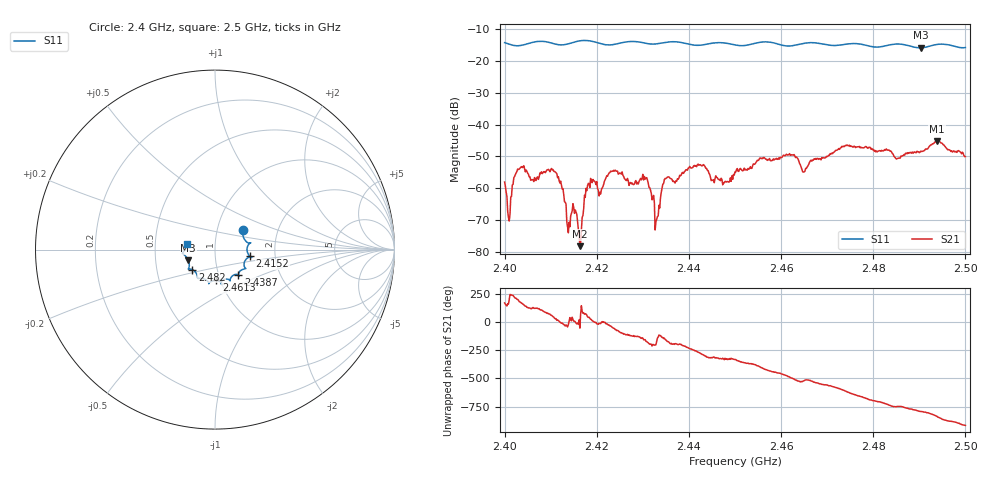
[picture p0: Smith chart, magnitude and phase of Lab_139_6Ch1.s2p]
# Hz S RI R 50
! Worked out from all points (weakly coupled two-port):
!   601 points, 2.4 GHz to 2.5 GHz, reference 50 ohm
!   highest |S21| = -45.16 dB at 2.4938 GHz (marker M1); lowest = -78.2 dB at 2.4163 GHz (marker M2)
!   lowest |S11| = -15.9 dB at 2.4903 GHz (marker M3), VSWR 1.38, Z = 36.8 - j4.43 ohm
!   |S11| at or under -10 dB: start of sweep to end of sweep
!   S12 and S22 are empty: the file has one direction only
!   S11 on the Smith chart (normalised r, x): 2.4 GHz: 1.33, +0.31; 2.4152 GHz: 1.48, -0.12; 2.4387 GHz: 1.24, -0.36; 2.4613 GHz: 0.96, -0.34; 2.482 GHz: 0.76, -0.17; 2.5 GHz: 0.72, +0.05
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2.4e9  0.1577 0.1118  -0.00123 0.000233  0 0  0 0
2.401e9  0.1555 0.0968  -0.000289 -9.63e-05  0 0  0 0
2.403167e9  0.1628 0.0597  -0.00199 -4.76e-05  0 0  0 0
2.4105e9  0.1858 0.0264  0.00131 0.00146  0 0  0 0
2.413833e9  0.1839 -0.0225  0.000183 -7.85e-05  0 0  0 0
2.415167e9  0.194 -0.0377  0.000399 5.07e-05  0 0  0 0
2.416333e9  0.2021 -0.0433  7.26e-05 -9.9e-05  0 0  0 0
2.416667e9  0.2034 -0.044  -0.000179 0.000125  0 0  0 0
2.418167e9  0.2035 -0.0419  0.000891 0.000789  0 0  0 0
2.4235e9  0.162 -0.0785  0.00117 -0.00143  0 0  0 0
2.4305e9  0.1541 -0.1107  -0.00127 -0.000561  0 0  0 0
2.433333e9  0.1324 -0.1317  -0.000254 -0.000267  0 0  0 0
2.434833e9  0.1306 -0.1439  -0.00128 -0.00063  0 0  0 0
2.438667e9  0.1301 -0.1417  -0.00155 0.000852  0 0  0 0
2.45e9  0.0689 -0.1645  0.0016 0.000834  0 0  0 0
2.461333e9  0.00807 -0.1713  -0.00152 -0.00297  0 0  0 0
2.466667e9  -0.0347 -0.1904  -0.00256 -0.000697  0 0  0 0
2.482e9  -0.1261 -0.1113  0.00386 0.000363  0 0  0 0
2.483333e9  -0.1398 -0.1087  0.00385 -0.00104  0 0  0 0
2.490333e9  -0.1493 -0.0586  0.00115 -0.00364  0 0  0 0
2.493833e9  -0.18 -0.0225  -0.00245 -0.00494  0 0  0 0
2.5e9  -0.1585 0.0327  -0.00299 0.000928  0 0  0 0
